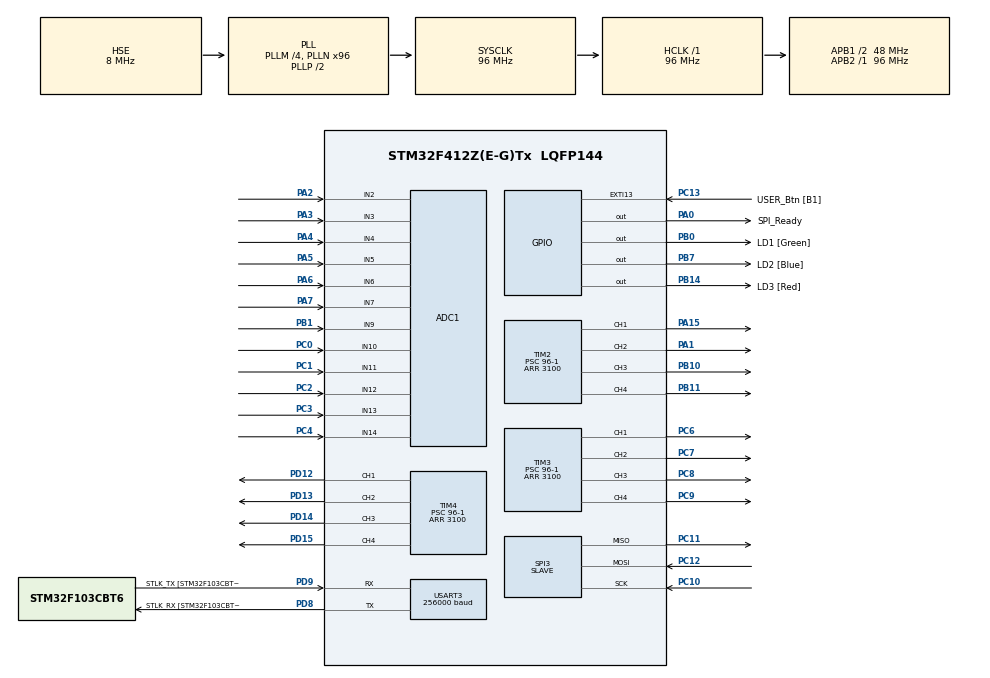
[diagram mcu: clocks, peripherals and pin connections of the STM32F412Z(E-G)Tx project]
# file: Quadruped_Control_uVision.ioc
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ADC1.Channel-0\#ChannelRegularConversion=ADC_CHANNEL_4
ADC1.Channel-1\#ChannelRegularConversion=ADC_CHANNEL_13
ADC1.Channel-10\#ChannelRegularConversion=ADC_CHANNEL_12
ADC1.Channel-11\#ChannelRegularConversion=ADC_CHANNEL_9
ADC1.Channel-2\#ChannelRegularConversion=ADC_CHANNEL_2
ADC1.Channel-3\#ChannelRegularConversion=ADC_CHANNEL_11
ADC1.Channel-4\#ChannelRegularConversion=ADC_CHANNEL_14
ADC1.Channel-5\#ChannelRegularConversion=ADC_CHANNEL_7
ADC1.Channel-6\#ChannelRegularConversion=ADC_CHANNEL_5
ADC1.Channel-7\#ChannelRegularConversion=ADC_CHANNEL_6
ADC1.Channel-8\#ChannelRegularConversion=ADC_CHANNEL_10
ADC1.Channel-9\#ChannelRegularConversion=ADC_CHANNEL_3
ADC1.ContinuousConvMode=ENABLE
ADC1.DMAContinuousRequests=ENABLE
ADC1.DataAlign=ADC_DATAALIGN_RIGHT
ADC1.EOCSelection=ADC_EOC_SEQ_CONV
ADC1.NbrOfConversion=12
ADC1.NbrOfConversionFlag=1
ADC1.Rank-0\#ChannelRegularConversion=1
ADC1.Rank-1\#ChannelRegularConversion=2
ADC1.Rank-10\#ChannelRegularConversion=11
ADC1.Rank-11\#ChannelRegularConversion=12
ADC1.Rank-2\#ChannelRegularConversion=3
ADC1.Rank-3\#ChannelRegularConversion=4
ADC1.Rank-4\#ChannelRegularConversion=5
ADC1.Rank-5\#ChannelRegularConversion=6
ADC1.Rank-6\#ChannelRegularConversion=7
ADC1.Rank-7\#ChannelRegularConversion=8
ADC1.Rank-8\#ChannelRegularConversion=9
ADC1.Rank-9\#ChannelRegularConversion=10
ADC1.SamplingTime-0\#ChannelRegularConversion=ADC_SAMPLETIME_84CYCLES
ADC1.SamplingTime-1\#ChannelRegularConversion=ADC_SAMPLETIME_84CYCLES
ADC1.SamplingTime-10\#ChannelRegularConversion=ADC_SAMPLETIME_84CYCLES
ADC1.SamplingTime-11\#ChannelRegularConversion=ADC_SAMPLETIME_84CYCLES
ADC1.SamplingTime-2\#ChannelRegularConversion=ADC_SAMPLETIME_84CYCLES
ADC1.SamplingTime-3\#ChannelRegularConversion=ADC_SAMPLETIME_84CYCLES
ADC1.SamplingTime-4\#ChannelRegularConversion=ADC_SAMPLETIME_84CYCLES
ADC1.SamplingTime-5\#ChannelRegularConversion=ADC_SAMPLETIME_84CYCLES
ADC1.SamplingTime-6\#ChannelRegularConversion=ADC_SAMPLETIME_84CYCLES
ADC1.SamplingTime-7\#ChannelRegularConversion=ADC_SAMPLETIME_84CYCLES
ADC1.SamplingTime-8\#ChannelRegularConversion=ADC_SAMPLETIME_84CYCLES
ADC1.SamplingTime-9\#ChannelRegularConversion=ADC_SAMPLETIME_84CYCLES
ADC1.ScanConvMode=ENABLE
ADC1.master=1
Dma.ADC1.2.Direction=DMA_PERIPH_TO_MEMORY
Dma.ADC1.2.FIFOMode=DMA_FIFOMODE_DISABLE
Dma.ADC1.2.Instance=DMA2_Stream4
Dma.ADC1.2.MemDataAlignment=DMA_MDATAALIGN_HALFWORD
Dma.ADC1.2.MemInc=DMA_MINC_ENABLE
Dma.ADC1.2.Mode=DMA_CIRCULAR
Dma.ADC1.2.PeriphDataAlignment=DMA_PDATAALIGN_HALFWORD
Dma.ADC1.2.PeriphInc=DMA_PINC_DISABLE
Dma.ADC1.2.Priority=DMA_PRIORITY_LOW
Dma.Request0=SPI3_TX
Dma.Request1=SPI3_RX
Dma.Request2=ADC1
Dma.SPI3_RX.1.Direction=DMA_PERIPH_TO_MEMORY
Dma.SPI3_RX.1.FIFOMode=DMA_FIFOMODE_DISABLE
Dma.SPI3_RX.1.Instance=DMA1_Stream2
Dma.SPI3_RX.1.MemDataAlignment=DMA_MDATAALIGN_HALFWORD
Dma.SPI3_RX.1.MemInc=DMA_MINC_ENABLE
Dma.SPI3_RX.1.Mode=DMA_NORMAL
Dma.SPI3_RX.1.PeriphDataAlignment=DMA_PDATAALIGN_HALFWORD
Dma.SPI3_RX.1.PeriphInc=DMA_PINC_DISABLE
Dma.SPI3_RX.1.Priority=DMA_PRIORITY_VERY_HIGH
Dma.SPI3_TX.0.Direction=DMA_MEMORY_TO_PERIPH
Dma.SPI3_TX.0.FIFOMode=DMA_FIFOMODE_DISABLE
Dma.SPI3_TX.0.Instance=DMA1_Stream7
Dma.SPI3_TX.0.MemDataAlignment=DMA_MDATAALIGN_HALFWORD
Dma.SPI3_TX.0.MemInc=DMA_MINC_ENABLE
Dma.SPI3_TX.0.Mode=DMA_NORMAL
Dma.SPI3_TX.0.PeriphDataAlignment=DMA_PDATAALIGN_HALFWORD
Dma.SPI3_TX.0.PeriphInc=DMA_PINC_DISABLE
Dma.SPI3_TX.0.Priority=DMA_PRIORITY_VERY_HIGH
Mcu.Family=STM32F4
Mcu.Name=STM32F412Z(E-G)Tx
Mcu.Package=LQFP144
NVIC.DMA1_Stream2_IRQn=true\:0\:0\:true\:false\:true\:false\:true\:true
NVIC.DMA1_Stream7_IRQn=true\:0\:0\:true\:false\:true\:false\:true\:true
NVIC.DMA2_Stream4_IRQn=true\:2\:0\:true\:false\:true\:false\:true\:true
NVIC.EXTI15_10_IRQn=true\:0\:0\:false\:false\:true\:true\:true\:true
NVIC.PriorityGroup=NVIC_PRIORITYGROUP_4
NVIC.TIM1_BRK_TIM9_IRQn=true\:0\:0\:true\:false\:true\:true\:true\:true
NVIC.TIM5_IRQn=true\:1\:0\:true\:false\:true\:true\:true\:true
PA0.GPIO_Label=SPI_Ready
PA0.Signal=GPIO_Output
PA1.Signal=S_TIM2_CH2
PA13.GPIO_Label=TMS
PA13.Mode=Serial_Wire
PA13.Signal=SYS_JTMS-SWDIO
PA14.GPIO_Label=TCK
PA14.Mode=Serial_Wire
PA14.Signal=SYS_JTCK-SWCLK
PA15.Signal=S_TIM2_CH1_ETR
PA2.Signal=ADCx_IN2
PA3.Signal=ADCx_IN3
PA4.Signal=ADCx_IN4
PA5.Signal=ADCx_IN5
PA6.Signal=ADCx_IN6
PA7.Signal=ADCx_IN7
PB0.GPIO_Label=LD1 [Green]
PB0.Signal=GPIO_Output
PB1.Signal=ADCx_IN9
PB10.Signal=S_TIM2_CH3
PB11.Signal=S_TIM2_CH4
PB14.GPIO_Label=LD3 [Red]
PB14.Signal=GPIO_Output
PB3.GPIO_Label=SWO
PB3.Signal=SYS_JTDO-SWO
PB7.GPIO_Label=LD2 [Blue]
PB7.Signal=GPIO_Output
PC0.Signal=ADCx_IN10
PC1.Signal=ADCx_IN11
PC10.Mode=Full_Duplex_Slave
PC10.Signal=SPI3_SCK
PC11.Mode=Full_Duplex_Slave
PC11.Signal=SPI3_MISO
PC12.Mode=Full_Duplex_Slave
PC12.Signal=SPI3_MOSI
PC13.GPIO_Label=USER_Btn [B1]
PC13.Signal=GPXTI13
PC14-OSC32_IN.Mode=LSE-External-Oscillator
PC14-OSC32_IN.Signal=RCC_OSC32_IN
PC15-OSC32_OUT.Mode=LSE-External-Oscillator
PC15-OSC32_OUT.Signal=RCC_OSC32_OUT
PC2.Signal=ADCx_IN12
PC3.Signal=ADCx_IN13
PC4.Signal=ADCx_IN14
PC6.Signal=S_TIM3_CH1
PC7.Signal=S_TIM3_CH2
PC8.Signal=S_TIM3_CH3
PC9.Signal=S_TIM3_CH4
PD12.Signal=S_TIM4_CH1
PD13.Signal=S_TIM4_CH2
PD14.Signal=S_TIM4_CH3
PD15.Signal=S_TIM4_CH4
PD8.GPIO_Label=STLK_RX [STM32F103CBT6_PA3]
PD8.Mode=Asynchronous
PD8.Signal=USART3_TX
PD9.GPIO_Label=STLK_TX [STM32F103CBT6_PA2]
PD9.Mode=Asynchronous
PD9.Signal=USART3_RX
PH0\ -\ OSC_IN.GPIO_Label=MCO
PH0\ -\ OSC_IN.Mode=HSE-External-Clock-Source
PH0\ -\ OSC_IN.Signal=RCC_OSC_IN
PH1\ -\ OSC_OUT.Mode=HSE-External-Clock-Source
PH1\ -\ OSC_OUT.Signal=RCC_OSC_OUT
ProjectManager.HeapSize=0x2EE0
ProjectManager.StackSize=0x400
ProjectManager.TargetToolchain=MDK-ARM V5.32
RCC.48MHZClocksFreq_Value=24000000
RCC.AHBFreq_Value=96000000
RCC.APB1CLKDivider=RCC_HCLK_DIV2
RCC.APB1Freq_Value=48000000
RCC.APB1TimFreq_Value=96000000
RCC.APB2Freq_Value=96000000
RCC.APB2TimFreq_Value=96000000
RCC.CortexFreq_Value=96000000
RCC.HCLKFreq_Value=96000000
RCC.HSE_VALUE=8000000
RCC.HSI_VALUE=16000000
RCC.PLLM=4
RCC.PLLMUL=RCC_PLL_MUL9
RCC.PLLN=96
RCC.PLLQ=4
RCC.PLLSourceVirtual=RCC_PLLSOURCE_HSE
RCC.PRESCALERUSB=RCC_USBCLKSOURCE_PLL_DIV1_5
RCC.SYSCLKFreq_VALUE=96000000
RCC.SYSCLKSource=RCC_SYSCLKSOURCE_PLLCLK
RCC.SYSCLKSourceVirtual=RCC_SYSCLKSOURCE_PLLCLK
RCC.USBFreq_Value=48000000
RCC.VCOOutputFreq_Value=192000000
SH.ADCx_IN10.0=ADC1_IN10,IN10
SH.ADCx_IN11.0=ADC1_IN11,IN11
SH.ADCx_IN12.0=ADC1_IN12,IN12
SH.ADCx_IN13.0=ADC1_IN13,IN13
SH.ADCx_IN14.0=ADC1_IN14,IN14
SH.ADCx_IN2.0=ADC1_IN2,IN2
SH.ADCx_IN3.0=ADC1_IN3,IN3
SH.ADCx_IN4.0=ADC1_IN4,IN4
SH.ADCx_IN5.0=ADC1_IN5,IN5
SH.ADCx_IN6.0=ADC1_IN6,IN6
SH.ADCx_IN7.0=ADC1_IN7,IN7
SH.ADCx_IN9.0=ADC1_IN9,IN9
SH.S_TIM2_CH1_ETR.0=TIM2_CH1,PWM Generation1 CH1
SH.S_TIM2_CH2.0=TIM2_CH2,PWM Generation2 CH2
SH.S_TIM2_CH3.0=TIM2_CH3,PWM Generation3 CH3
SH.S_TIM2_CH4.0=TIM2_CH4,PWM Generation4 CH4
SH.S_TIM3_CH1.0=TIM3_CH1,PWM Generation1 CH1
SH.S_TIM3_CH2.0=TIM3_CH2,PWM Generation2 CH2
SH.S_TIM3_CH3.0=TIM3_CH3,PWM Generation3 CH3
SH.S_TIM3_CH4.0=TIM3_CH4,PWM Generation4 CH4
SH.S_TIM4_CH1.0=TIM4_CH1,PWM Generation1 CH1
SH.S_TIM4_CH2.0=TIM4_CH2,PWM Generation2 CH2
SH.S_TIM4_CH3.0=TIM4_CH3,PWM Generation3 CH3
SH.S_TIM4_CH4.0=TIM4_CH4,PWM Generation4 CH4
SPI3.DataSize=SPI_DATASIZE_16BIT
SPI3.Direction=SPI_DIRECTION_2LINES
SPI3.Mode=SPI_MODE_SLAVE
SPI3.VirtualType=VM_SLAVE
TIM2.AutoReloadPreload=TIM_AUTORELOAD_PRELOAD_ENABLE
TIM2.Channel-PWM\ Generation1\ CH1=TIM_CHANNEL_1
TIM2.Channel-PWM\ Generation2\ CH2=TIM_CHANNEL_2
TIM2.Channel-PWM\ Generation3\ CH3=TIM_CHANNEL_3
TIM2.Channel-PWM\ Generation4\ CH4=TIM_CHANNEL_4
TIM2.OCFastMode_PWM-PWM\ Generation1\ CH1=TIM_OCFAST_ENABLE
TIM2.OCFastMode_PWM-PWM\ Generation2\ CH2=TIM_OCFAST_ENABLE
TIM2.OCFastMode_PWM-PWM\ Generation3\ CH3=TIM_OCFAST_ENABLE
TIM2.OCFastMode_PWM-PWM\ Generation4\ CH4=TIM_OCFAST_ENABLE
TIM2.Period=3100
TIM2.Prescaler=96-1
TIM2.Pulse-PWM\ Generation1\ CH1=0
TIM3.AutoReloadPreload=TIM_AUTORELOAD_PRELOAD_ENABLE
TIM3.Channel-PWM\ Generation1\ CH1=TIM_CHANNEL_1
TIM3.Channel-PWM\ Generation2\ CH2=TIM_CHANNEL_2
TIM3.Channel-PWM\ Generation3\ CH3=TIM_CHANNEL_3
TIM3.Channel-PWM\ Generation4\ CH4=TIM_CHANNEL_4
TIM3.OCFastMode_PWM-PWM\ Generation1\ CH1=TIM_OCFAST_ENABLE
TIM3.OCFastMode_PWM-PWM\ Generation2\ CH2=TIM_OCFAST_ENABLE
TIM3.OCFastMode_PWM-PWM\ Generation3\ CH3=TIM_OCFAST_ENABLE
TIM3.OCFastMode_PWM-PWM\ Generation4\ CH4=TIM_OCFAST_ENABLE
TIM3.Period=3100
TIM3.Prescaler=96-1
TIM4.AutoReloadPreload=TIM_AUTORELOAD_PRELOAD_ENABLE
TIM4.Channel-PWM\ Generation1\ CH1=TIM_CHANNEL_1
TIM4.Channel-PWM\ Generation2\ CH2=TIM_CHANNEL_2
TIM4.Channel-PWM\ Generation3\ CH3=TIM_CHANNEL_3
TIM4.Channel-PWM\ Generation4\ CH4=TIM_CHANNEL_4
TIM4.OCFastMode_PWM-PWM\ Generation1\ CH1=TIM_OCFAST_ENABLE
TIM4.OCFastMode_PWM-PWM\ Generation2\ CH2=TIM_OCFAST_ENABLE
TIM4.OCFastMode_PWM-PWM\ Generation3\ CH3=TIM_OCFAST_ENABLE
TIM4.OCFastMode_PWM-PWM\ Generation4\ CH4=TIM_OCFAST_ENABLE
TIM4.Period=3100
TIM4.Prescaler=96-1
TIM5.Period=500
TIM5.Prescaler=96-1
TIM9.Period=10000
TIM9.Prescaler=96-1
USART3.BaudRate=256000
USART3.VirtualMode=VM_ASYNC
VP_TIM2_VS_ClockSourceINT.Mode=Internal
VP_TIM3_VS_ClockSourceINT.Mode=Internal
VP_TIM4_VS_ClockSourceINT.Mode=Internal
VP_TIM5_VS_ClockSourceINT.Mode=Internal
VP_TIM9_VS_ClockSourceINT.Mode=Internal
board=NUCLEO-F412ZG

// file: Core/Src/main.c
/* USER CODE BEGIN Header */
/**
 ******************************************************************************
 * @file           : main.c
 * @brief          : Main program body
 ******************************************************************************
 * @attention
 *
 * Copyright (c) 2024 STMicroelectronics.
 * All rights reserved.
 *
 * This software is licensed under terms that can be found in the LICENSE file
 * in the root directory of this software component.
 * If no LICENSE file comes with this software, it is provided AS-IS.
 *
 ******************************************************************************
 */
/* USER CODE END Header */
#include "main.h"

/* USER CODE BEGIN Includes */
#include <math.h>
#include <string.h>
#include <arm_math.h>
#include "calibration_ADC.h"

#include "SignalProcessing.h"
/* USER CODE END Includes */

/* USER CODE BEGIN PD */
#define M_PI (float32_t)3.14159265358979323846

// Number of joints
#define JOINTS 12

//Ranges for each type of joint
#define BODY_RANGE_MAX 15.0
#define BODY_RANGE_MIN -10.0
#define FEMUR_RANGE_MAX 30.0
#define FEMUR_RANGE_MIN -20.0
#define TIBIA_RANGE_MAX 15.0
#define TIBIA_RANGE_MIN -15.0
// 0PWM_BFR,1PWM_BBR, 2PWM_BBL, 3PWM_TFR, 4PWM_FFR, 5PWM_BFL, 6PWM_FFL, 7PWM_TFL, 8PWM_FBL, 9PWM_TBL, 10PWM_TBR, 11PWM_FBR

// WITH PID
// #define MID_POINT_BFR 93
// #define MID_POINT_BBR 81
// #define MID_POINT_BBL 84
// #define MID_POINT_TFR 85
// #define MID_POINT_FFR 82
// #define MID_POINT_BFL 90
// #define MID_POINT_FFL 84
// #define MID_POINT_TFL 93
// #define MID_POINT_FBL 91
// #define MID_POINT_TBL 93
// #define MID_POINT_TBR 79
// #define MID_POINT_FBR 81

//WITHOUT PID
#define MID_POINT_BFR 94
#define MID_POINT_BBR 87
#define MID_POINT_BBL 86
#define MID_POINT_TFR 89
#define MID_POINT_FFR 87
#define MID_POINT_BFL 94
#define MID_POINT_FFL 87
#define MID_POINT_TFL 93
#define MID_POINT_FBL 94
#define MID_POINT_TBL 96
#define MID_POINT_TBR 80
#define MID_POINT_FBR 85

// States for Main State Machine
#define RESET 0
#define TX_RASPBERRY 1
#define RX_RASPBERRY 2
#define ACTUATION 3
#define ERROR 4

// States for Actuation State Machine
#define RESET_ACTUATION 0
#define DELAY_STATE 1
#define COMPARE_MEASURE 2
#define TIMEOUT_STATE 3

#define TIM9_TICK (float32_t)0.01 //s
#define TIM5_TICK (float32_t)0.5 //ms

#define ONE_SECOND (float32_t)1000/TIM5_TICK  //milliseconds

// Parameters to transform Degrees(°) values to PWM (Ton in microseconds)
#define K_TON (float32_t)(1000.0 / 140.0)
#define BIAS_TON (float)500

// Parameters of the actuation and time-out algorithm
#define DEAD_BANDWIDTH_SERVO 3	// Degrees
#define MAX_DELTA_TARGET 2    // Degrees

#define TIMEOUT (float32_t)1000/TIM5_TICK    // miliseconds

#define ALL_FINISHED (uint16_t)0xFFF //(12 ones)

//Median Filter
#define WINDOW_SIZE 80
/* USER CODE END PD */

/* USER CODE BEGIN PM */
#define __round_uint(x) ((x) >= 0 ? (uint16_t)((x) + (float32_t)0.5) : (uint16_t)((x) - (float32_t)0.5))
#define __round_int(x) ((x) >= 0 ? (int16_t)((x) + (float32_t)0.5) : (int16_t)((x) - (float32_t)0.5))
/* USER CODE END PM */

ADC_HandleTypeDef hadc1;
DMA_HandleTypeDef hdma_adc1;

SPI_HandleTypeDef hspi3;
DMA_HandleTypeDef hdma_spi3_tx;
DMA_HandleTypeDef hdma_spi3_rx;

TIM_HandleTypeDef htim2;
TIM_HandleTypeDef htim3;
TIM_HandleTypeDef htim4;
TIM_HandleTypeDef htim5;
TIM_HandleTypeDef htim9;

UART_HandleTypeDef huart3;

/* USER CODE BEGIN PV */
// For tx floats under UART (Serial plot)
typedef union float2byte
{
  float angle;
  uint8_t angle_bytes[4];
} float2byte;

//Median filter
volatile float32_t filter_in_arm_angle[12];
volatile float32_t median_filteredValue[JOINTS];
volatile spMedianFilter median_filter[JOINTS];

//SPI
volatile uint8_t spi_rx_cplt = 0;
//uint8_t spi_tx_cplt = 0;

// PID Variables
volatile float32_t error = 0;
volatile float32_t previous_error[JOINTS] = {0, 0, 0, 0, 0, 0, 0, 0, 0, 0, 0, 0};
volatile float32_t control_signal = 0;
volatile float32_t error_acum[JOINTS] = {0, 0, 0, 0, 0, 0, 0, 0, 0, 0, 0, 0};
volatile float32_t error_dif = 0;
volatile uint16_t pwm_pid_out[JOINTS] = {0, 0, 0, 0, 0, 0, 0, 0, 0, 0, 0, 0};

// PID constants
float32_t kp[JOINTS] = {0.5,0.5,0.5,0.5,0.5,0.5,0.5,0.5,0.5,0.5,0.5,0.5};
float32_t kd[JOINTS] = {0,0,0,0,0,0,0,0,0,0,0,0};
float32_t ki[JOINTS] = {0.1,0.1,0.1,0.1,0.1,0.1,0.1,0.1,0.1,0.1,0.1,0.1};

// Offset of each joint
const float32_t mid_point_joints[12] = {MID_POINT_BFR, MID_POINT_BBR, MID_POINT_BBL, MID_POINT_TFR, MID_POINT_FFR, MID_POINT_BFL, MID_POINT_FFL, MID_POINT_TFL, MID_POINT_FBL, MID_POINT_TBL, MID_POINT_TBR, MID_POINT_FBR};

// Global Flags for state machines
volatile uint8_t up_down_vector[JOINTS] = {0, 0, 0, 0, 0, 0, 0, 0, 0, 0, 0, 0}; // To know if the servos have to go up or down: 1 is up, 0 is down

// Arrays used to set the pwm of each servo in a for loop
TIM_HandleTypeDef* htim[3];
uint32_t channel[4] = {TIM_CHANNEL_1, TIM_CHANNEL_2, TIM_CHANNEL_3, TIM_CHANNEL_4};

const float32_t joint_range[12][2] = {{BODY_RANGE_MIN, BODY_RANGE_MAX},
                                    {-BODY_RANGE_MAX, -BODY_RANGE_MIN},
                                    {-BODY_RANGE_MAX, -BODY_RANGE_MIN},
                                    {TIBIA_RANGE_MIN, TIBIA_RANGE_MAX},
                                    {FEMUR_RANGE_MIN, FEMUR_RANGE_MAX},
                                    {BODY_RANGE_MIN, BODY_RANGE_MAX},
                                    {-FEMUR_RANGE_MAX, -FEMUR_RANGE_MIN},
                                    {-TIBIA_RANGE_MAX, -TIBIA_RANGE_MIN},
                                    {-FEMUR_RANGE_MAX, -FEMUR_RANGE_MIN},
                                    {-TIBIA_RANGE_MAX, -TIBIA_RANGE_MIN},
                                    {TIBIA_RANGE_MIN, TIBIA_RANGE_MAX},
                                    {FEMUR_RANGE_MIN, FEMUR_RANGE_MAX}};

// Global Buffers
// Buffer rx SPI
volatile float32_t target_joint[12] ={MID_POINT_BFR, MID_POINT_BBR, MID_POINT_BBL, MID_POINT_TFR, MID_POINT_FFR, MID_POINT_BFL, MID_POINT_FFL, MID_POINT_TFL, MID_POINT_FBL, MID_POINT_TBL, MID_POINT_TBR, MID_POINT_FBR};
volatile uint16_t raw_angle_ADC[2][12] = {0, 0, 0, 0, 0, 0, 0, 0, 0, 0, 0, 0}; // ADC measurement with DMA

volatile uint8_t current_buffer = 0;

// Ticks of timer
volatile uint8_t pid_sample = 0;
volatile uint8_t send_uart = 0;
volatile uint16_t timeout = 0;
volatile uint16_t time_debounce = 0;  //To debounce user button

// Init program at reset with user button
volatile uint8_t init_nucleo = 0;

// Calibration variables
const float32_t *calibration_table[12] = {&ADC_VALUES_SERVO_0[0][0], &ADC_VALUES_SERVO_1[0][0], &ADC_VALUES_SERVO_2[0][0], &ADC_VALUES_SERVO_3[0][0], &ADC_VALUES_SERVO_4[0][0], &ADC_VALUES_SERVO_5[0][0], &ADC_VALUES_SERVO_6[0][0], &ADC_VALUES_SERVO_7[0][0], &ADC_VALUES_SERVO_8[0][0], &ADC_VALUES_SERVO_9[0][0], &ADC_VALUES_SERVO_10[0][0], &ADC_VALUES_SERVO_11[0][0]};

/////////////////////////////

//Para pruebas
// volatile uint16_t debug_delay = 0;
volatile uint32_t delta_time;
float test_quadruped_nucleo[12] = {MID_POINT_BFR, MID_POINT_BBR, MID_POINT_BBL, MID_POINT_TFR, MID_POINT_FFR, MID_POINT_BFL, MID_POINT_FFL, MID_POINT_TFL, MID_POINT_FBL, MID_POINT_TBL, MID_POINT_TBR, MID_POINT_FBR};

// VARIABLES QUE NO DEBEN SER GLOBALES, pero es mas cómodo para debuggear

// podrían ser locales
volatile float32_t delta_target = 0;
volatile float32_t f_joint_angle[JOINTS] = {0, 0, 0, 0, 0, 0, 0, 0, 0, 0, 0, 0};
volatile float32_t spi_transmit_rpi[JOINTS] =  {0, 0, 0, 0, 0, 0, 0, 0, 0, 0, 0, 0};
volatile uint8_t uart_tx_buffer[2 + 12 * 4 + 12 * 4 + 12 * 4 + 12 * 4];

// podrían ser estáticas locales
volatile uint8_t state_actuation = RESET_ACTUATION;
volatile uint16_t joints_finished = ALL_FINISHED; // Each bit is a flag for a joint: 1-Finished, 0-Unfinished
volatile int8_t step_complete = 1;           // returned by State_Machine_Actuation

/* USER CODE END PV */

void SystemClock_Config(void);
static void MX_GPIO_Init(void);
static void MX_DMA_Init(void);
static void MX_TIM2_Init(void);
static void MX_USART3_UART_Init(void);
static void MX_ADC1_Init(void);
static void MX_TIM3_Init(void);
static void MX_TIM4_Init(void);
static void MX_SPI3_Init(void);
static void MX_TIM5_Init(void);
static void MX_TIM9_Init(void);
/* USER CODE BEGIN PFP */
float adc2angle(uint16_t adc_value, uint8_t up_down, const float32_t *table_ptr);
uint16_t angle2ton_us(float);
float ton_us2angle(uint16_t ton_us);
void move_servos(uint8_t joint, uint16_t ton);

int8_t State_Machine_Actuation(void);
void State_Machine_Control(void);
/* USER CODE END PFP */

/* USER CODE BEGIN 0 */

// CAMBIAR NOMBRES PARA QUE SEA MAS DESCRIPTIVO
float2byte u_dummy1;
float2byte u_dummy2;
float2byte u_dummy3;
float2byte u_dummy4;
/* USER CODE END 0 */

int main(void)
{

  /* MCU Configuration--------------------------------------------------------*/

  /* Reset of all peripherals, Initializes the Flash interface and the Systick. */
  HAL_Init();

  /* Configure the system clock */
  SystemClock_Config();

  /* Initialize all configured peripherals */
  MX_GPIO_Init();
  MX_DMA_Init();
  MX_TIM2_Init();
  MX_USART3_UART_Init();
  MX_ADC1_Init();
  MX_TIM3_Init();
  MX_TIM4_Init();
  MX_SPI3_Init();
  MX_TIM5_Init();
  MX_TIM9_Init();
  /* USER CODE BEGIN 2 */
	while(init_nucleo == 0) HAL_Delay(10);

  HAL_TIM_Base_Start(&htim2);
  HAL_TIM_Base_Start(&htim2);
  HAL_TIM_PWM_Start(&htim2, TIM_CHANNEL_1);
  HAL_TIM_PWM_Start(&htim2, TIM_CHANNEL_2);
  HAL_TIM_PWM_Start(&htim2, TIM_CHANNEL_3);
  HAL_TIM_PWM_Start(&htim2, TIM_CHANNEL_4);

  HAL_TIM_Base_Start(&htim3);
  HAL_TIM_PWM_Start(&htim3, TIM_CHANNEL_1);
  HAL_TIM_PWM_Start(&htim3, TIM_CHANNEL_2);
  HAL_TIM_PWM_Start(&htim3, TIM_CHANNEL_3);
  HAL_TIM_PWM_Start(&htim3, TIM_CHANNEL_4);

  HAL_TIM_Base_Start(&htim4);
  HAL_TIM_PWM_Start(&htim4, TIM_CHANNEL_1);
  HAL_TIM_PWM_Start(&htim4, TIM_CHANNEL_2);
  HAL_TIM_PWM_Start(&htim4, TIM_CHANNEL_3);
  HAL_TIM_PWM_Start(&htim4, TIM_CHANNEL_4);

  for (uint8_t joint = 0; joint < 12; joint++)
  {
		median_filter[joint] = spCreateMedianFilter(WINDOW_SIZE);
		pwm_pid_out[joint] = angle2ton_us(mid_point_joints[joint]);
  }

  while (HAL_ADC_Start_DMA(&hadc1, (uint32_t *)raw_angle_ADC, 12 * 2) == HAL_BUSY);

  // Initialize htim vector used to set pwm in for loops
  htim[0] = &htim2;
  htim[1] = &htim3;
  htim[2] = &htim4;

  /* USER CODE END 2 */

  /* Infinite loop */
  /* USER CODE BEGIN WHILE */

  // Main state
  uart_tx_buffer[0] = 0xFF;
  uart_tx_buffer[1] = 0xFF;

  // Joints set to default initial angle
  for (uint8_t joint = 0; joint < JOINTS; joint++)
  {
    move_servos(joint, angle2ton_us(mid_point_joints[joint]));
  }

  HAL_Delay(5000);

  while (HAL_TIM_Base_Start_IT(&htim5) == HAL_BUSY);

  while (HAL_TIM_Base_Start_IT(&htim9) == HAL_BUSY);

  while (1)
  {
//    for (uint8_t joint = 0; joint < JOINTS; joint++)
//			__HAL_TIM_SET_COMPARE(htim[joint / 4], channel[joint % 4], angle2ton_us(test_quadruped_nucleo[joint]));

		//memcpy(target_joint, test_quadruped_nucleo, sizeof(test_quadruped_nucleo));

    //memcpy(dummy1, &raw_angle_ADC[buffer_to_copy][0], sizeof(dummy1));

    //Serial Plot
    if (send_uart)
    {
      for (int i = 0; i < JOINTS; i++)
      {
				u_dummy1.angle = target_joint[i];
        //u_dummy2.angle = adc2angle(median_filteredValue[i], up_down_vector[i], calibration_table[i]);
				//u_dummy3.angle = adc2angle(filter_in_arm_angle[i], up_down_vector[i], calibration_table[i]);
        u_dummy2.angle = ton_us2angle(pwm_pid_out[i]);
				u_dummy3.angle = error_acum[i];
        u_dummy4.angle = f_joint_angle[i];

        uart_tx_buffer[16 * i + 2] = u_dummy1.angle_bytes[3];
        uart_tx_buffer[16 * i + 3] = u_dummy1.angle_bytes[2];
        uart_tx_buffer[16 * i + 4] = u_dummy1.angle_bytes[1];
        uart_tx_buffer[16 * i + 5] = u_dummy1.angle_bytes[0];

        uart_tx_buffer[16 * i + 6] = u_dummy2.angle_bytes[3];
        uart_tx_buffer[16 * i + 7] = u_dummy2.angle_bytes[2];
        uart_tx_buffer[16 * i + 8] = u_dummy2.angle_bytes[1];
        uart_tx_buffer[16 * i + 9] = u_dummy2.angle_bytes[0];

				uart_tx_buffer[16 * i + 10] = u_dummy3.angle_bytes[3];
        uart_tx_buffer[16 * i + 11] = u_dummy3.angle_bytes[2];
        uart_tx_buffer[16 * i + 12] = u_dummy3.angle_bytes[1];
        uart_tx_buffer[16 * i + 13] = u_dummy3.angle_bytes[0];

				uart_tx_buffer[16 * i + 14] = u_dummy4.angle_bytes[3];
        uart_tx_buffer[16 * i + 15] = u_dummy4.angle_bytes[2];
        uart_tx_buffer[16 * i + 16] = u_dummy4.angle_bytes[1];
        uart_tx_buffer[16 * i + 17] = u_dummy4.angle_bytes[0];
      }
			HAL_UART_Transmit(&huart3, (const uint8_t*) uart_tx_buffer, 16 * JOINTS + 2, HAL_MAX_DELAY);

      send_uart = 0;
    }

    //HAL_Delay(1); // Adjust delay as necessary

    State_Machine_Control();
  }

    /* USER CODE END WHILE */

}

void SystemClock_Config(void)
{
  RCC_OscInitTypeDef RCC_OscInitStruct = {0};
  RCC_ClkInitTypeDef RCC_ClkInitStruct = {0};

  /** Configure the main internal regulator output voltage
  */
  __HAL_RCC_PWR_CLK_ENABLE();
  __HAL_PWR_VOLTAGESCALING_CONFIG(PWR_REGULATOR_VOLTAGE_SCALE1);

  /** Initializes the RCC Oscillators according to the specified parameters
  * in the RCC_OscInitTypeDef structure.
  */
  RCC_OscInitStruct.OscillatorType = RCC_OSCILLATORTYPE_HSE;
  RCC_OscInitStruct.HSEState = RCC_HSE_BYPASS;
  RCC_OscInitStruct.PLL.PLLState = RCC_PLL_ON;
  RCC_OscInitStruct.PLL.PLLSource = RCC_PLLSOURCE_HSE;
  RCC_OscInitStruct.PLL.PLLM = 4;
  RCC_OscInitStruct.PLL.PLLN = 96;
  RCC_OscInitStruct.PLL.PLLP = RCC_PLLP_DIV2;
  RCC_OscInitStruct.PLL.PLLQ = 4;
  RCC_OscInitStruct.PLL.PLLR = 2;
  if (HAL_RCC_OscConfig(&RCC_OscInitStruct) != HAL_OK)
  {
    Error_Handler();
  }

  /** Initializes the CPU, AHB and APB buses clocks
  */
  RCC_ClkInitStruct.ClockType = RCC_CLOCKTYPE_HCLK|RCC_CLOCKTYPE_SYSCLK
                              |RCC_CLOCKTYPE_PCLK1|RCC_CLOCKTYPE_PCLK2;
  RCC_ClkInitStruct.SYSCLKSource = RCC_SYSCLKSOURCE_PLLCLK;
  RCC_ClkInitStruct.AHBCLKDivider = RCC_SYSCLK_DIV1;
  RCC_ClkInitStruct.APB1CLKDivider = RCC_HCLK_DIV2;
  RCC_ClkInitStruct.APB2CLKDivider = RCC_HCLK_DIV1;

  if (HAL_RCC_ClockConfig(&RCC_ClkInitStruct, FLASH_LATENCY_3) != HAL_OK)
  {
    Error_Handler();
  }
}

static void MX_ADC1_Init(void)
{

  ADC_ChannelConfTypeDef sConfig = {0};

  /** Configure the global features of the ADC (Clock, Resolution, Data Alignment and number of conversion)
  */
  hadc1.Instance = ADC1;
  hadc1.Init.ClockPrescaler = ADC_CLOCK_SYNC_PCLK_DIV4;
  hadc1.Init.Resolution = ADC_RESOLUTION_12B;
  hadc1.Init.ScanConvMode = ENABLE;
  hadc1.Init.ContinuousConvMode = ENABLE;
  hadc1.Init.DiscontinuousConvMode = DISABLE;
  hadc1.Init.ExternalTrigConvEdge = ADC_EXTERNALTRIGCONVEDGE_NONE;
  hadc1.Init.ExternalTrigConv = ADC_SOFTWARE_START;
  hadc1.Init.DataAlign = ADC_DATAALIGN_RIGHT;
  hadc1.Init.NbrOfConversion = 12;
  hadc1.Init.DMAContinuousRequests = ENABLE;
  hadc1.Init.EOCSelection = ADC_EOC_SEQ_CONV;
  if (HAL_ADC_Init(&hadc1) != HAL_OK)
  {
    Error_Handler();
  }

  /** Configure for the selected ADC regular channel its corresponding rank in the sequencer and its sample time.
  */
  sConfig.Channel = ADC_CHANNEL_4;
  sConfig.Rank = 1;
  sConfig.SamplingTime = ADC_SAMPLETIME_84CYCLES;
  if (HAL_ADC_ConfigChannel(&hadc1, &sConfig) != HAL_OK)
  {
    Error_Handler();
  }

  /** Configure for the selected ADC regular channel its corresponding rank in the sequencer and its sample time.
  */
  sConfig.Channel = ADC_CHANNEL_13;
  sConfig.Rank = 2;
  if (HAL_ADC_ConfigChannel(&hadc1, &sConfig) != HAL_OK)
  {
    Error_Handler();
  }

  /** Configure for the selected ADC regular channel its corresponding rank in the sequencer and its sample time.
  */
  sConfig.Channel = ADC_CHANNEL_2;
  sConfig.Rank = 3;
  if (HAL_ADC_ConfigChannel(&hadc1, &sConfig) != HAL_OK)
  {
    Error_Handler();
  }

  /** Configure for the selected ADC regular channel its corresponding rank in the sequencer and its sample time.
  */
  sConfig.Channel = ADC_CHANNEL_11;
  sConfig.Rank = 4;
  if (HAL_ADC_ConfigChannel(&hadc1, &sConfig) != HAL_OK)
  {
    Error_Handler();
  }

  /** Configure for the selected ADC regular channel its corresponding rank in the sequencer and its sample time.
  */
  sConfig.Channel = ADC_CHANNEL_14;
  sConfig.Rank = 5;
  if (HAL_ADC_ConfigChannel(&hadc1, &sConfig) != HAL_OK)
  {
    Error_Handler();
  }

  /** Configure for the selected ADC regular channel its corresponding rank in the sequencer and its sample time.
  */
  sConfig.Channel = ADC_CHANNEL_7;
  sConfig.Rank = 6;
  if (HAL_ADC_ConfigChannel(&hadc1, &sConfig) != HAL_OK)
  {
    Error_Handler();
  }

  /** Configure for the selected ADC regular channel its corresponding rank in the sequencer and its sample time.
  */
  sConfig.Channel = ADC_CHANNEL_5;
  sConfig.Rank = 7;
  if (HAL_ADC_ConfigChannel(&hadc1, &sConfig) != HAL_OK)
  {
    Error_Handler();
  }

  /** Configure for the selected ADC regular channel its corresponding rank in the sequencer and its sample time.
  */
  sConfig.Channel = ADC_CHANNEL_6;
  sConfig.Rank = 8;
  if (HAL_ADC_ConfigChannel(&hadc1, &sConfig) != HAL_OK)
  {
    Error_Handler();
  }

  /** Configure for the selected ADC regular channel its corresponding rank in the sequencer and its sample time.
  */
  sConfig.Channel = ADC_CHANNEL_10;
  sConfig.Rank = 9;
  if (HAL_ADC_ConfigChannel(&hadc1, &sConfig) != HAL_OK)
  {
    Error_Handler();
  }

  /** Configure for the selected ADC regular channel its corresponding rank in the sequencer and its sample time.
  */
  sConfig.Channel = ADC_CHANNEL_3;
  sConfig.Rank = 10;
  if (HAL_ADC_ConfigChannel(&hadc1, &sConfig) != HAL_OK)
  {
    Error_Handler();
  }

  /** Configure for the selected ADC regular channel its corresponding rank in the sequencer and its sample time.
  */
  sConfig.Channel = ADC_CHANNEL_12;
  sConfig.Rank = 11;
  if (HAL_ADC_ConfigChannel(&hadc1, &sConfig) != HAL_OK)
  {
    Error_Handler();
  }

  /** Configure for the selected ADC regular channel its corresponding rank in the sequencer and its sample time.
  */
  sConfig.Channel = ADC_CHANNEL_9;
  sConfig.Rank = 12;
  if (HAL_ADC_ConfigChannel(&hadc1, &sConfig) != HAL_OK)
  {
    Error_Handler();
  }

}

static void MX_SPI3_Init(void)
{

  /* SPI3 parameter configuration*/
  hspi3.Instance = SPI3;
  hspi3.Init.Mode = SPI_MODE_SLAVE;
  hspi3.Init.Direction = SPI_DIRECTION_2LINES;
  hspi3.Init.DataSize = SPI_DATASIZE_16BIT;
  hspi3.Init.CLKPolarity = SPI_POLARITY_LOW;
  hspi3.Init.CLKPhase = SPI_PHASE_1EDGE;
  hspi3.Init.NSS = SPI_NSS_SOFT;
  hspi3.Init.FirstBit = SPI_FIRSTBIT_MSB;
  hspi3.Init.TIMode = SPI_TIMODE_DISABLE;
  hspi3.Init.CRCCalculation = SPI_CRCCALCULATION_DISABLE;
  hspi3.Init.CRCPolynomial = 10;
  if (HAL_SPI_Init(&hspi3) != HAL_OK)
  {
    Error_Handler();
  }

}

static void MX_TIM2_Init(void)
{

  TIM_ClockConfigTypeDef sClockSourceConfig = {0};
  TIM_MasterConfigTypeDef sMasterConfig = {0};
  TIM_OC_InitTypeDef sConfigOC = {0};

  htim2.Instance = TIM2;
  htim2.Init.Prescaler = 96-1;
  htim2.Init.CounterMode = TIM_COUNTERMODE_UP;
  htim2.Init.Period = 3100;
  htim2.Init.ClockDivision = TIM_CLOCKDIVISION_DIV1;
  htim2.Init.AutoReloadPreload = TIM_AUTORELOAD_PRELOAD_ENABLE;
  if (HAL_TIM_Base_Init(&htim2) != HAL_OK)
  {
    Error_Handler();
  }
  sClockSourceConfig.ClockSource = TIM_CLOCKSOURCE_INTERNAL;
  if (HAL_TIM_ConfigClockSource(&htim2, &sClockSourceConfig) != HAL_OK)
  {
    Error_Handler();
  }
  if (HAL_TIM_PWM_Init(&htim2) != HAL_OK)
  {
    Error_Handler();
  }
  sMasterConfig.MasterOutputTrigger = TIM_TRGO_RESET;
  sMasterConfig.MasterSlaveMode = TIM_MASTERSLAVEMODE_DISABLE;
  if (HAL_TIMEx_MasterConfigSynchronization(&htim2, &sMasterConfig) != HAL_OK)
  {
    Error_Handler();
  }
  sConfigOC.OCMode = TIM_OCMODE_PWM1;
  sConfigOC.Pulse = 0;
  sConfigOC.OCPolarity = TIM_OCPOLARITY_HIGH;
  sConfigOC.OCFastMode = TIM_OCFAST_ENABLE;
  if (HAL_TIM_PWM_ConfigChannel(&htim2, &sConfigOC, TIM_CHANNEL_1) != HAL_OK)
  {
    Error_Handler();
  }
  if (HAL_TIM_PWM_ConfigChannel(&htim2, &sConfigOC, TIM_CHANNEL_2) != HAL_OK)
  {
    Error_Handler();
  }
  if (HAL_TIM_PWM_ConfigChannel(&htim2, &sConfigOC, TIM_CHANNEL_3) != HAL_OK)
  {
    Error_Handler();
  }
  if (HAL_TIM_PWM_ConfigChannel(&htim2, &sConfigOC, TIM_CHANNEL_4) != HAL_OK)
  {
    Error_Handler();
  }
  HAL_TIM_MspPostInit(&htim2);

}

static void MX_TIM3_Init(void)
{

  TIM_ClockConfigTypeDef sClockSourceConfig = {0};
  TIM_MasterConfigTypeDef sMasterConfig = {0};
  TIM_OC_InitTypeDef sConfigOC = {0};

  htim3.Instance = TIM3;
  htim3.Init.Prescaler = 96-1;
  htim3.Init.CounterMode = TIM_COUNTERMODE_UP;
  htim3.Init.Period = 3100;
  htim3.Init.ClockDivision = TIM_CLOCKDIVISION_DIV1;
  htim3.Init.AutoReloadPreload = TIM_AUTORELOAD_PRELOAD_ENABLE;
  if (HAL_TIM_Base_Init(&htim3) != HAL_OK)
  {
    Error_Handler();
  }
  sClockSourceConfig.ClockSource = TIM_CLOCKSOURCE_INTERNAL;
  if (HAL_TIM_ConfigClockSource(&htim3, &sClockSourceConfig) != HAL_OK)
  {
    Error_Handler();
  }
  if (HAL_TIM_PWM_Init(&htim3) != HAL_OK)
  {
    Error_Handler();
  }
  sMasterConfig.MasterOutputTrigger = TIM_TRGO_RESET;
  sMasterConfig.MasterSlaveMode = TIM_MASTERSLAVEMODE_DISABLE;
  if (HAL_TIMEx_MasterConfigSynchronization(&htim3, &sMasterConfig) != HAL_OK)
  {
    Error_Handler();
  }
  sConfigOC.OCMode = TIM_OCMODE_PWM1;
  sConfigOC.Pulse = 0;
  sConfigOC.OCPolarity = TIM_OCPOLARITY_HIGH;
  sConfigOC.OCFastMode = TIM_OCFAST_ENABLE;
  if (HAL_TIM_PWM_ConfigChannel(&htim3, &sConfigOC, TIM_CHANNEL_1) != HAL_OK)
  {
    Error_Handler();
  }
  if (HAL_TIM_PWM_ConfigChannel(&htim3, &sConfigOC, TIM_CHANNEL_2) != HAL_OK)
  {
    Error_Handler();
  }
  if (HAL_TIM_PWM_ConfigChannel(&htim3, &sConfigOC, TIM_CHANNEL_3) != HAL_OK)
  {
    Error_Handler();
  }
  if (HAL_TIM_PWM_ConfigChannel(&htim3, &sConfigOC, TIM_CHANNEL_4) != HAL_OK)
  {
    Error_Handler();
  }
  HAL_TIM_MspPostInit(&htim3);

}

static void MX_TIM4_Init(void)
{

  TIM_ClockConfigTypeDef sClockSourceConfig = {0};
  TIM_MasterConfigTypeDef sMasterConfig = {0};
  TIM_OC_InitTypeDef sConfigOC = {0};

  htim4.Instance = TIM4;
  htim4.Init.Prescaler = 96-1;
  htim4.Init.CounterMode = TIM_COUNTERMODE_UP;
  htim4.Init.Period = 3100;
  htim4.Init.ClockDivision = TIM_CLOCKDIVISION_DIV1;
  htim4.Init.AutoReloadPreload = TIM_AUTORELOAD_PRELOAD_ENABLE;
  if (HAL_TIM_Base_Init(&htim4) != HAL_OK)
  {
    Error_Handler();
  }
  sClockSourceConfig.ClockSource = TIM_CLOCKSOURCE_INTERNAL;
  if (HAL_TIM_ConfigClockSource(&htim4, &sClockSourceConfig) != HAL_OK)
  {
    Error_Handler();
  }
  if (HAL_TIM_PWM_Init(&htim4) != HAL_OK)
  {
    Error_Handler();
  }
  sMasterConfig.MasterOutputTrigger = TIM_TRGO_RESET;
  sMasterConfig.MasterSlaveMode = TIM_MASTERSLAVEMODE_DISABLE;
  if (HAL_TIMEx_MasterConfigSynchronization(&htim4, &sMasterConfig) != HAL_OK)
  {
    Error_Handler();
  }
  sConfigOC.OCMode = TIM_OCMODE_PWM1;
  sConfigOC.Pulse = 0;
  sConfigOC.OCPolarity = TIM_OCPOLARITY_HIGH;
  sConfigOC.OCFastMode = TIM_OCFAST_ENABLE;
  if (HAL_TIM_PWM_ConfigChannel(&htim4, &sConfigOC, TIM_CHANNEL_1) != HAL_OK)
  {
    Error_Handler();
  }
  if (HAL_TIM_PWM_ConfigChannel(&htim4, &sConfigOC, TIM_CHANNEL_2) != HAL_OK)
  {
    Error_Handler();
  }
  if (HAL_TIM_PWM_ConfigChannel(&htim4, &sConfigOC, TIM_CHANNEL_3) != HAL_OK)
  {
    Error_Handler();
  }
  if (HAL_TIM_PWM_ConfigChannel(&htim4, &sConfigOC, TIM_CHANNEL_4) != HAL_OK)
  {
    Error_Handler();
  }
  HAL_TIM_MspPostInit(&htim4);

}

static void MX_TIM5_Init(void)
{

  TIM_ClockConfigTypeDef sClockSourceConfig = {0};
  TIM_MasterConfigTypeDef sMasterConfig = {0};

  htim5.Instance = TIM5;
  htim5.Init.Prescaler = 96-1;
  htim5.Init.CounterMode = TIM_COUNTERMODE_UP;
  htim5.Init.Period = 500;
  htim5.Init.ClockDivision = TIM_CLOCKDIVISION_DIV1;
  htim5.Init.AutoReloadPreload = TIM_AUTORELOAD_PRELOAD_DISABLE;
  if (HAL_TIM_Base_Init(&htim5) != HAL_OK)
  {
    Error_Handler();
  }
  sClockSourceConfig.ClockSource = TIM_CLOCKSOURCE_INTERNAL;
  if (HAL_TIM_ConfigClockSource(&htim5, &sClockSourceConfig) != HAL_OK)
  {
    Error_Handler();
  }
  sMasterConfig.MasterOutputTrigger = TIM_TRGO_RESET;
  sMasterConfig.MasterSlaveMode = TIM_MASTERSLAVEMODE_DISABLE;
  if (HAL_TIMEx_MasterConfigSynchronization(&htim5, &sMasterConfig) != HAL_OK)
  {
    Error_Handler();
  }

}

static void MX_TIM9_Init(void)
{

  TIM_ClockConfigTypeDef sClockSourceConfig = {0};

  htim9.Instance = TIM9;
  htim9.Init.Prescaler = 96-1;
  htim9.Init.CounterMode = TIM_COUNTERMODE_UP;
  htim9.Init.Period = 10000;
  htim9.Init.ClockDivision = TIM_CLOCKDIVISION_DIV1;
  htim9.Init.AutoReloadPreload = TIM_AUTORELOAD_PRELOAD_DISABLE;
  if (HAL_TIM_Base_Init(&htim9) != HAL_OK)
  {
    Error_Handler();
  }
  sClockSourceConfig.ClockSource = TIM_CLOCKSOURCE_INTERNAL;
  if (HAL_TIM_ConfigClockSource(&htim9, &sClockSourceConfig) != HAL_OK)
  {
    Error_Handler();
  }

}

static void MX_USART3_UART_Init(void)
{

  huart3.Instance = USART3;
  huart3.Init.BaudRate = 256000;
  huart3.Init.WordLength = UART_WORDLENGTH_8B;
  huart3.Init.StopBits = UART_STOPBITS_1;
  huart3.Init.Parity = UART_PARITY_NONE;
  huart3.Init.Mode = UART_MODE_TX_RX;
  huart3.Init.HwFlowCtl = UART_HWCONTROL_NONE;
  huart3.Init.OverSampling = UART_OVERSAMPLING_16;
  if (HAL_UART_Init(&huart3) != HAL_OK)
  {
    Error_Handler();
  }

}

static void MX_DMA_Init(void)
{

  /* DMA controller clock enable */
  __HAL_RCC_DMA1_CLK_ENABLE();
  __HAL_RCC_DMA2_CLK_ENABLE();

  /* DMA interrupt init */
  /* DMA1_Stream2_IRQn interrupt configuration */
  HAL_NVIC_SetPriority(DMA1_Stream2_IRQn, 0, 0);
  HAL_NVIC_EnableIRQ(DMA1_Stream2_IRQn);
  /* DMA1_Stream7_IRQn interrupt configuration */
  HAL_NVIC_SetPriority(DMA1_Stream7_IRQn, 0, 0);
  HAL_NVIC_EnableIRQ(DMA1_Stream7_IRQn);
  /* DMA2_Stream4_IRQn interrupt configuration */
  HAL_NVIC_SetPriority(DMA2_Stream4_IRQn, 2, 0);
  HAL_NVIC_EnableIRQ(DMA2_Stream4_IRQn);

}

static void MX_GPIO_Init(void)
{
  GPIO_InitTypeDef GPIO_InitStruct = {0};

  /* GPIO Ports Clock Enable */
  __HAL_RCC_GPIOC_CLK_ENABLE();
  __HAL_RCC_GPIOH_CLK_ENABLE();
  __HAL_RCC_GPIOA_CLK_ENABLE();
  __HAL_RCC_GPIOB_CLK_ENABLE();
  __HAL_RCC_GPIOD_CLK_ENABLE();

  /*Configure GPIO pin Output Level */
  HAL_GPIO_WritePin(SPI_Ready_GPIO_Port, SPI_Ready_Pin, GPIO_PIN_RESET);

  /*Configure GPIO pin Output Level */
  HAL_GPIO_WritePin(GPIOB, LD1_Pin|LD3_Pin|LD2_Pin, GPIO_PIN_RESET);

  /*Configure GPIO pin : USER_Btn_Pin */
  GPIO_InitStruct.Pin = USER_Btn_Pin;
  GPIO_InitStruct.Mode = GPIO_MODE_IT_RISING;
  GPIO_InitStruct.Pull = GPIO_NOPULL;
  HAL_GPIO_Init(USER_Btn_GPIO_Port, &GPIO_InitStruct);

  /*Configure GPIO pin : SPI_Ready_Pin */
  GPIO_InitStruct.Pin = SPI_Ready_Pin;
  GPIO_InitStruct.Mode = GPIO_MODE_OUTPUT_PP;
  GPIO_InitStruct.Pull = GPIO_NOPULL;
  GPIO_InitStruct.Speed = GPIO_SPEED_FREQ_LOW;
  HAL_GPIO_Init(SPI_Ready_GPIO_Port, &GPIO_InitStruct);

  /*Configure GPIO pins : LD1_Pin LD3_Pin LD2_Pin */
  GPIO_InitStruct.Pin = LD1_Pin|LD3_Pin|LD2_Pin;
  GPIO_InitStruct.Mode = GPIO_MODE_OUTPUT_PP;
  GPIO_InitStruct.Pull = GPIO_NOPULL;
  GPIO_InitStruct.Speed = GPIO_SPEED_FREQ_LOW;
  HAL_GPIO_Init(GPIOB, &GPIO_InitStruct);

  /* EXTI interrupt init*/
  HAL_NVIC_SetPriority(EXTI15_10_IRQn, 0, 0);
  HAL_NVIC_EnableIRQ(EXTI15_10_IRQn);

}

/* USER CODE BEGIN 4 */

void HAL_ADC_ConvHalfCpltCallback(ADC_HandleTypeDef *hadc)
{
  current_buffer = 0;
}

void HAL_ADC_ConvCpltCallback(ADC_HandleTypeDef *hadc)
{
  current_buffer = 1;
}

void HAL_SPI_RxCpltCallback(SPI_HandleTypeDef *hspi)
{
  if(hspi == &hspi3)
  {
    spi_rx_cplt = 1;
  }
}

void HAL_GPIO_EXTI_Callback(uint16_t GPIO_Pin)
{
	if(GPIO_Pin == USER_Btn_Pin && init_nucleo == 0)
	{
		init_nucleo = 1;
    time_debounce = ONE_SECOND;
	}else if(GPIO_Pin == USER_Btn_Pin && init_nucleo == 1 && time_debounce == 0)
  {
    step_complete = 1;  //disable PID

		for (uint8_t joint = 0; joint < JOINTS; joint++)

			__HAL_TIM_SET_COMPARE(htim[joint / 4], channel[joint % 4], angle2ton_us(mid_point_joints[joint]));

		HAL_Delay(1000);  //Delay to ignore bouncing of user button, and establish the default position before reset

		//Turn off pwm without interrupting ton.
		for(uint8_t i= 0; i<JOINTS;i++)
		{
			//wait for ton to finish
			while(__HAL_TIM_GET_COUNTER(htim[i / 4]) < __HAL_TIM_GET_COMPARE(htim[i / 4], channel[i % 4]));

			HAL_TIM_PWM_Stop(htim[i / 4], channel[i % 4]);
		}

		HAL_NVIC_SystemReset();
  }
}

void HAL_TIM_PeriodElapsedCallback(TIM_HandleTypeDef *timer)
{
  // static float32_t t_step = 0;
	//static int sign = 1;

  if (timer == &htim5)
  {
    if (timeout > 0)
      timeout--;

    if (time_debounce > 0)
      time_debounce--;

		// if (debug_delay > 0)
		// 	debug_delay--;

    uint8_t buffer_to_copy = current_buffer;

		// uint32_t init_value = __HAL_TIM_GetCounter(&htim5);

    for (uint8_t joint = 0; joint < 12; joint++)
    {
      filter_in_arm_angle[joint] = raw_angle_ADC[buffer_to_copy][joint];
			median_filteredValue[joint] = spMedianFilterInsert(median_filter[joint], filter_in_arm_angle[joint]);  //Median Filter
    }
		// uint32_t final_value = __HAL_TIM_GetCounter(&htim5);

		// delta_time = final_value - init_value;
    // for controlling trajectory
    // t_step += 0.0005;

//		if(t_step >=3)
//		{
//			sign = - sign;
//			t_step = 0.0;
//			target_joint[10] = -5 * sign+ mid_point_joints[10];
//			//target_joint[11] = 5 * sign + mid_point_joints[11];
//			target_joint[3] = -5 * sign + mid_point_joints[3];
//			//target_joint[4] = 5 * sign + mid_point_joints[4];
//			target_joint[9] = 5 * sign + mid_point_joints[9];
//			//target_joint[8] = -5 * sign + mid_point_joints[8];
//			target_joint[7] = 5 * sign+ mid_point_joints[7];
//			//target_joint[6] = -5 * sign+ mid_point_joints[6];
//			for(uint8_t i = 0;i<JOINTS;i++)
//				move_servos(i, angle2ton_us(target_joint[i]));
//		}

//			// // Tibia   Back    Right
//			target_joint[10] = -10 * sin(2 * M_PI * 0.5 * t_step) + mid_point_joints[10];

//			// // Femur   Back    Right
//			target_joint[11] = 10 * sin(2 * M_PI * 0.5 * t_step) + mid_point_joints[11];

//			// // Tibia Front Right
//			target_joint[3] = -10 * sin(2 * M_PI * 0.5 * t_step) + mid_point_joints[3];
//			// //Femur Front Right
//			target_joint[4] = 10 * sin(2 * M_PI * 0.5 * t_step) + mid_point_joints[4];

//			// //Tibia Back left
//			target_joint[9] = 10 * sin(2 * M_PI * 0.5 * t_step) + mid_point_joints[9];

//			// //Femur Back left
//			target_joint[8] = -10 * sin(2 * M_PI * 0.5 * t_step) + mid_point_joints[8];

//			// //Tibia Front left
//			target_joint[7] = 10 * sin(2 * M_PI * 0.5 * t_step) + mid_point_joints[7];
//			// //Femur Front left
//			target_joint[6] = -10 * sin(2 * M_PI * 0.5 * t_step) + mid_point_joints[6];
//
//			for(uint8_t i = 0;i<JOINTS;i++)
//				move_servos(i, angle2ton_us(target_joint[i]));

  }

  if (timer == &htim9)
  {
		// Move servos
		for (uint8_t joint = 0; joint < 12; joint++)
		{

			f_joint_angle[joint] = adc2angle(median_filteredValue[joint], up_down_vector[joint], calibration_table[joint]);

			// if (step_complete == 0)
			// {
			// 	error = target_joint[joint] - f_joint_angle[joint];
			// 	error_acum[joint] += error * TIM9_TICK;
			// 	error_dif = (error - previous_error[joint]) / TIM9_TICK; //(divido tick de tim9)

			// 	previous_error[joint] = error;

			// 	control_signal = kp[joint] * error + ki[joint] * error_acum[joint] + kd[joint] * error_dif; //Delta_angle
			// 	up_down_vector[joint] = control_signal > 0;

      //   pwm_pid_out[joint] = pwm_pid_out[joint] + __round_int(control_signal);

      //   //If pid_out is below min range, move to min range
			// 	if(ton_us2angle(pwm_pid_out[joint]) < (mid_point_joints[joint] + joint_range[joint][0]))
			// 		move_servos(joint, angle2ton_us(mid_point_joints[joint] + joint_range[joint][0]));

      //   //If pid_out is above max range, move to max range
			// 	else if(ton_us2angle(pwm_pid_out[joint]) > (mid_point_joints[joint] + joint_range[joint][1]))
			// 		move_servos(joint, angle2ton_us(mid_point_joints[joint] + joint_range[joint][1]));

      //   //Else move it to pid_out
			// 	else
			// 		move_servos(joint, pwm_pid_out[joint]);
			// }

		}
    pid_sample = 1;
    send_uart = 1;
	}
}

// Convert ADC_value of ACCUMULATED measurement to angle in degrees using linear interpolation
float adc2angle(uint16_t adc_value, uint8_t up_down, const float32_t *table_ptr)
{
  uint16_t index = 0;

  const float32_t *ADC_VALUES = table_ptr;

  while (adc_value > ADC_VALUES[up_down * MED_CALIB + index] / 5) // Busco el c�digo en la tabla obtenida en la calibracion
  {
    index++;
    if (index > MED_CALIB - 1)
      return 266; //adc_value greater than maximum value of table
  }

  if (adc_value == ADC_VALUES[up_down * MED_CALIB + index] / 5) // Si el c�digo est� en la tabla, devuelvo el angulo correspondiente
    return ANGLES[index];

  else if (index == 0)
    return 0; // adc_value lesser than minimum value of table

  else // Si es menor al codigo de la tabla, realizo una interpolacion lineal
    return (ANGLES[index - 1] * (ADC_VALUES[up_down * MED_CALIB + index] / 5 - adc_value) + ANGLES[index] * (adc_value - ADC_VALUES[up_down * MED_CALIB + index - 1] / 5)) / (ADC_VALUES[up_down * MED_CALIB + index] / 5 - ADC_VALUES[up_down * MED_CALIB + index - 1] / 5);
}

uint16_t angle2ton_us(float angle_value)
{
  uint16_t ton_us = 0;

  ton_us = __round_uint(angle_value * K_TON + BIAS_TON);

  return ton_us;
}
float ton_us2angle(uint16_t ton_us)
{
  float angle_value = 0.0;

  angle_value = (ton_us - BIAS_TON) / K_TON;

  return angle_value;
}
void move_servos(uint8_t joint, uint16_t ton)
{
  __HAL_TIM_SET_COMPARE(htim[joint / 4], channel[joint % 4], ton);
}

void State_Machine_Control(void)
{
  static uint8_t state = TX_RASPBERRY;
	// static int sign = 1;

  switch (state)
  {
    case TX_RASPBERRY:
			// if(debug_delay == 0)
			{
				// Request master to transmit target step rotation and joint angles
				// debug_delay = 3000/TIM5_TICK;

				for(uint8_t joint = 0; joint<JOINTS ; joint++)
					spi_transmit_rpi[joint] = f_joint_angle[joint] - mid_point_joints[joint];

				HAL_SPI_Transmit_DMA(&hspi3, (uint8_t*)spi_transmit_rpi, 12*2);
				HAL_GPIO_WritePin(SPI_Ready_GPIO_Port, SPI_Ready_Pin, GPIO_PIN_RESET);
				HAL_Delay(1);
				HAL_GPIO_WritePin(SPI_Ready_GPIO_Port, SPI_Ready_Pin, GPIO_PIN_SET);

				state = RX_RASPBERRY;
			}
      break;
    case RX_RASPBERRY:
      //As reference:
      // Order of joints, Nucleo:
      // 0 - BFR
      // 1 - BBR
      // 2 - BBL
      // 3 - TFR
      // 4 - FFR
      // 5 - BFL
      // 6 - FFL
      // 7 - TFL
      // 8 - FBL
      // 9 - TBL
      // 10 - TBR
      // 11 - FBR

      // Order of joints, Raspberry:
      // 0 - BFR
      // 1 - FFR
      // 2 - TFR
      // 3 - BFL
      // 4 - FFL
      // 5 - TFL
      // 6 - BBR
      // 7 - FBR
      // 8 - TBR
      // 9 - BBL
      // 10 - FBL
      // 11 - TBL

      // Request master to receive the next action

      while(HAL_SPI_Receive_DMA(&hspi3, (uint8_t*)target_joint, 12*2) == HAL_BUSY);
      HAL_GPIO_WritePin(SPI_Ready_GPIO_Port, SPI_Ready_Pin, GPIO_PIN_RESET);
      HAL_Delay(1);
      HAL_GPIO_WritePin(SPI_Ready_GPIO_Port, SPI_Ready_Pin, GPIO_PIN_SET);

      while(spi_rx_cplt == 0);
      spi_rx_cplt = 0;

      //Add offset to each joint
			for (uint8_t joint = 0; joint < JOINTS; joint++)
			{
				target_joint[joint] = target_joint[joint] + mid_point_joints[joint];
			}

      HAL_GPIO_WritePin(LD1_GPIO_Port, LD1_Pin, (GPIO_PinState)0);
      HAL_GPIO_WritePin(LD3_GPIO_Port, LD3_Pin, (GPIO_PinState)0);

      //*Only for testing without raspberry
			// sign = - sign;
			// target_joint[10] = -5 * sign+ mid_point_joints[10];
			// //target_joint[11] = 5 * sign + mid_point_joints[11];
			// target_joint[3] = -5 * sign + mid_point_joints[3];
			// //target_joint[4] = 5 * sign + mid_point_joints[4];
			// target_joint[9] = 5 * sign + mid_point_joints[9];
			// //target_joint[8] = -5 * sign + mid_point_joints[8];
			// target_joint[7] = 5 * sign+ mid_point_joints[7];
			// //target_joint[6] = -5 * sign+ mid_point_joints[6];

      state = ACTUATION;

      break;
    case ACTUATION:

      step_complete = State_Machine_Actuation();

      if (step_complete == 1)
				state = TX_RASPBERRY;

      else if (step_complete == -1)
        //state = ERROR;
				state = TX_RASPBERRY;
        //state = TX_ERROR;   // TODO: ESTADO STOP DE EMERGENCIA EN EL FUTURO

      break;
    case ERROR:
      HAL_Delay(1);
      break;
  }
}

int8_t State_Machine_Actuation(void)
{
  switch (state_actuation)
  {
  case RESET_ACTUATION:

    // Check if the new target is too close to the actual position, in which case the servo wouldn't move because of the dead bandwidth
    // Therefore consider the joint already finished
    for (uint8_t joint = 0; joint < JOINTS; joint++)
    {
      delta_target = fabs(f_joint_angle[joint] - target_joint[joint]);

      if (delta_target >= DEAD_BANDWIDTH_SERVO)
      {
        // Evaluate if servo has to go up or down to get a better measurement
        up_down_vector[joint] = (f_joint_angle[joint] < target_joint[joint]);

        joints_finished &= ~(1 << joint); // Set respective bit in 0

        //*Solo si no se usa PID
        move_servos(joint, angle2ton_us(target_joint[joint]));
      }
    }
    if (joints_finished == ALL_FINISHED) // If no joint has to move we skip the actuation machine
    {
      HAL_GPIO_WritePin(LD3_GPIO_Port, LD3_Pin, (GPIO_PinState)0);
      HAL_GPIO_WritePin(LD1_GPIO_Port, LD3_Pin, (GPIO_PinState)1);
      return 1;
    }
    else
    {
      // Clear PID buffers
      memset((void*)error_acum, 0, sizeof(error_acum));
      memset((void*)previous_error, 0, sizeof(previous_error));

      state_actuation = DELAY_STATE;
      timeout = TIMEOUT;
      pid_sample = 0;
      step_complete = 0;
    }
    break;

  case DELAY_STATE:
    if (timeout == 0)
      state_actuation = TIMEOUT_STATE;
    else if (pid_sample)
      state_actuation = COMPARE_MEASURE;

    break;
  case COMPARE_MEASURE:
    if (timeout == 0)
      state_actuation = TIMEOUT_STATE;

    else
    {
      for (uint8_t joint = 0; joint < JOINTS; joint++)
      {
        if ((joints_finished & (1 << joint)) == 0) // Ignore joints that finished
        {
          delta_target = fabs(f_joint_angle[joint] - target_joint[joint]);

          if (delta_target < MAX_DELTA_TARGET) // If the stable joint reached target
          {
            joints_finished |= 1 << joint; // Set respective bit in 1

            if (joints_finished == ALL_FINISHED)
            {
              state_actuation = RESET_ACTUATION;
              HAL_GPIO_WritePin(LD3_GPIO_Port, LD3_Pin, (GPIO_PinState)0);
              HAL_GPIO_WritePin(LD1_GPIO_Port, LD3_Pin, (GPIO_PinState)1);
              return 1;
            }
          }
        }
      }
      pid_sample = 0;
      state_actuation = DELAY_STATE;
      // state_actuation = COMPARE_MEASURE;
    }

    break;
  case TIMEOUT_STATE:
    state_actuation = RESET_ACTUATION;

    HAL_GPIO_WritePin(LD1_GPIO_Port, LD1_Pin, (GPIO_PinState)0);
    HAL_GPIO_WritePin(LD3_GPIO_Port, LD3_Pin, (GPIO_PinState)1);

    // Reset all joints
    // joints_finished = ALL_FINISHED;
    // for (uint8_t joint = 0; joint < JOINTS; joint++)
    // {
    //   __HAL_TIM_SET_COMPARE(htim[joint / 4], channel[joint % 4], angle2ton_us(90));
    // }
    return -1;
  }
  return 0;
}

/* USER CODE END 4 */

void Error_Handler(void)
{
  __disable_irq();
  while (1)
  {
  }
}
